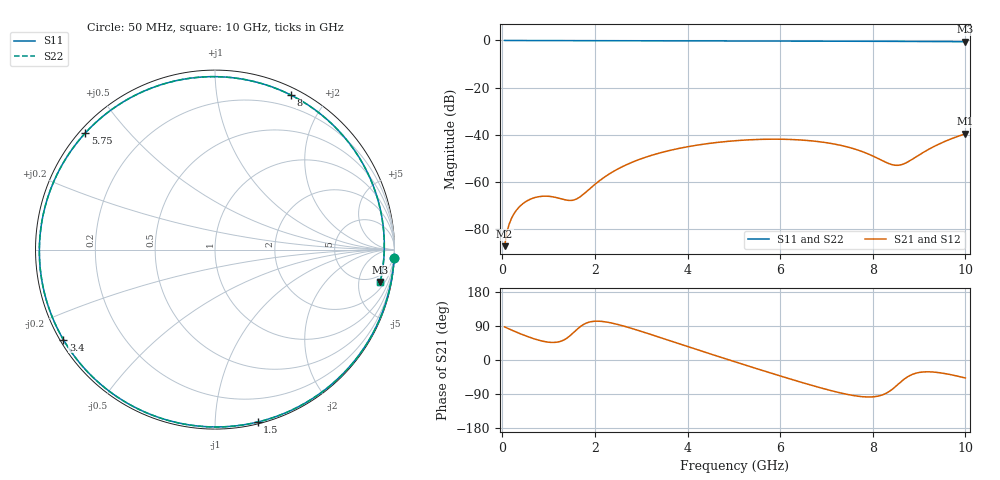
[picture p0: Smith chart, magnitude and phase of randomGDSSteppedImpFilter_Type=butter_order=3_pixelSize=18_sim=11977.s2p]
! freq	dB(S11)	phase(S11)	dB(S12)	phase(S12)
!  dB(S21)	phase(S21)	dB(S22)	phase(S22)
!S-par simulation data
#  GHz  S  DB  R 50
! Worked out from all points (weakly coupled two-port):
!   200 points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, 50 MHz to 10 GHz, reference 50 ohm
!   highest |S21| = -39.59 dB at 10 GHz (marker M1); lowest = -87.3 dB at 50 MHz (marker M2)
!   lowest |S11| = -0.6 dB at 10 GHz (marker M3), VSWR 31.48, Z = 154 - j465 ohm
!   |S11| at or under -10 dB: nowhere
!   |S22| runs from -0.6 to 0.0 dB; largest |S21 - S12| = 0
!   S11 on the Smith chart (normalised r, x): 50 MHz: 0, -44; 1.5 GHz: 0.01, -1.28; 3.4 GHz: 0.01, -0.27; 5.75 GHz: 0.02, +0.38; 8 GHz: 0.07, +1.60; 10 GHz: 3.08, -9.30
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0.05  -0.00 -2.6  -87.26 87.2  -87.26 87.2  -0.00 -2.6
0.1  -0.01 -5.3  -81.28 84.5  -81.28 84.5  -0.01 -5.3
0.25  -0.03 -13.4  -73.58 76.4  -73.58 76.4  -0.02 -13.4
0.35  -0.03 -18.8  -70.95 71.2  -70.95 71.2  -0.03 -18.8
0.6  -0.04 -32.0  -67.39 59.5  -67.39 59.5  -0.04 -32.0
0.95  -0.06 -49.9  -66.05 47.8  -66.05 47.8  -0.06 -49.9
1.5  -0.09 -76.1  -67.85 68.0  -67.85 68.0  -0.09 -76.2
1.75  -0.10 -87.2  -65.28 93.5  -65.28 93.5  -0.10 -87.3
2.15  -0.12 -104.0  -58.76 101.9  -58.76 101.9  -0.11 -104.0
2.5  -0.13 -117.6  -54.47 93.6  -54.47 93.6  -0.12 -117.7
3.4  -0.15 -149.3  -47.72 59.7  -47.72 59.7  -0.15 -149.4
4.2  -0.18 -174.9  -44.43 27.7  -44.43 27.7  -0.18 -174.9
5.05  -0.22 159.3  -42.50 -5.7  -42.50 -5.7  -0.22 159.2
5.75  -0.25 138.0  -41.89 -32.6  -41.89 -32.6  -0.25 137.9
6.7  -0.30 108.1  -42.64 -67.5  -42.64 -67.5  -0.30 108.0
7.35  -0.33 86.5  -44.68 -88.1  -44.68 -88.1  -0.33 86.4
8  -0.36 63.8  -49.00 -97.3  -49.00 -97.3  -0.36 63.7
8.35  -0.38 51.1  -52.25 -83.4  -52.25 -83.4  -0.38 51.0
8.65  -0.40 40.1  -52.50 -53.3  -52.50 -53.3  -0.40 40.0
9.2  -0.45 19.4  -46.26 -31.1  -46.26 -31.1  -0.45 19.3
9.6  -0.49 4.2  -42.47 -36.7  -42.47 -36.7  -0.50 4.1
10  -0.55 -11.1  -39.59 -47.5  -39.59 -47.5  -0.56 -11.2
